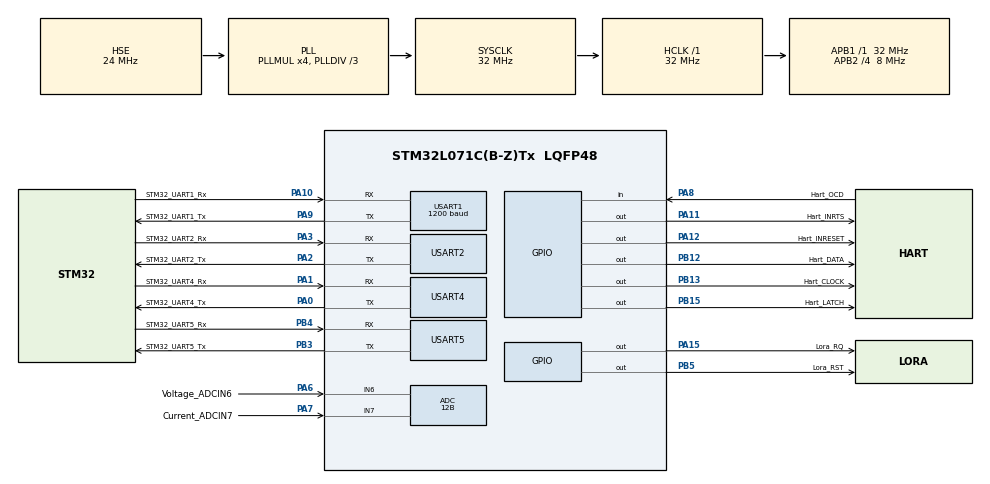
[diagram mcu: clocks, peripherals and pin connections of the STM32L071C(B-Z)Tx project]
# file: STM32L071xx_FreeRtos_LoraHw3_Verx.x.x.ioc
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ADC.ClockPrescaler=ADC_CLOCK_SYNC_PCLK_DIV4
ADC.ContinuousConvMode=ENABLE
ADC.DMAContinuousRequests=DISABLE
ADC.DataAlign=ADC_DATAALIGN_RIGHT
ADC.DiscontinuousConvMode=DISABLE
ADC.EOCSelection=ADC_EOC_SINGLE_CONV
ADC.EnableAnalogWatchDog=false
ADC.ExternalTrigConv=ADC_SOFTWARE_START
ADC.ExternalTrigConvEdge=ADC_EXTERNALTRIGCONVEDGE_NONE
ADC.LowPowerAutoPowerOff=DISABLE
ADC.LowPowerAutoWait=DISABLE
ADC.LowPowerFrequencyMode=DISABLE
ADC.Overrun=ADC_OVR_DATA_PRESERVED
ADC.OversamplingMode=DISABLE
ADC.Resolution=ADC_RESOLUTION_12B
ADC.SamplingTime=ADC_SAMPLETIME_7CYCLES_5
ADC.ScanConvMode=ADC_SCAN_DIRECTION_FORWARD
Dma.ADC.0.Direction=DMA_PERIPH_TO_MEMORY
Dma.ADC.0.Instance=DMA1_Channel1
Dma.ADC.0.MemDataAlignment=DMA_MDATAALIGN_WORD
Dma.ADC.0.MemInc=DMA_MINC_ENABLE
Dma.ADC.0.Mode=DMA_CIRCULAR
Dma.ADC.0.PeriphDataAlignment=DMA_PDATAALIGN_WORD
Dma.ADC.0.PeriphInc=DMA_PINC_DISABLE
Dma.ADC.0.Priority=DMA_PRIORITY_HIGH
Dma.Request0=ADC
FREERTOS.INCLUDE_eTaskGetState=1
FREERTOS.INCLUDE_pcTaskGetTaskName=1
FREERTOS.INCLUDE_vTaskCleanUpResources=1
FREERTOS.Tasks01=defaultTask,0,128,StartDefaultTask,Default
FREERTOS.configTOTAL_HEAP_SIZE=6144
Mcu.Family=STM32L0
Mcu.Name=STM32L071C(B-Z)Tx
Mcu.Package=LQFP48
NVIC.DMA1_Channel1_IRQn=true\:3\:0\:false\:false\:true\:true
NVIC.RTC_IRQn=true\:3\:0\:false\:false\:true\:true
NVIC.TIM2_IRQn=true\:0\:0\:false\:false\:true\:false
NVIC.TimeBase=TIM2_IRQn
NVIC.TimeBaseIP=TIM2
NVIC.USART1_IRQn=true\:3\:0\:false\:false\:true\:true
NVIC.USART2_IRQn=true\:3\:0\:false\:false\:true\:true
NVIC.USART4_5_IRQn=true\:3\:0\:false\:false\:true\:true
PA0.GPIO_Label=STM32_UART4_Tx
PA0.Mode=Asynchronous
PA0.Signal=USART4_TX
PA1.GPIO_Label=STM32_UART4_Rx
PA1.Mode=Asynchronous
PA1.Signal=USART4_RX
PA10.GPIO_Label=STM32_UART1_Rx
PA10.GPIO_Speed=GPIO_SPEED_FREQ_HIGH
PA10.Mode=Asynchronous
PA10.Signal=USART1_RX
PA11.GPIO_Label=Hart_INRTS
PA11.GPIO_PuPd=GPIO_NOPULL
PA11.GPIO_Speed=GPIO_SPEED_FREQ_LOW
PA11.PinState=GPIO_PIN_SET
PA11.Signal=GPIO_Output
PA12.GPIO_Label=Hart_INRESET
PA12.GPIO_PuPd=GPIO_NOPULL
PA12.GPIO_Speed=GPIO_SPEED_FREQ_LOW
PA12.PinState=GPIO_PIN_SET
PA12.Signal=GPIO_Output
PA13.Mode=Serial_Wire
PA13.Signal=SYS_SWDIO
PA14.Mode=Serial_Wire
PA14.Signal=SYS_SWCLK
PA15.GPIO_Label=Lora_RQ
PA15.GPIO_PuPd=GPIO_PULLUP
PA15.GPIO_Speed=GPIO_SPEED_FREQ_HIGH
PA15.PinState=GPIO_PIN_SET
PA15.Signal=GPIO_Output
PA2.GPIO_Label=STM32_UART2_Tx
PA2.GPIO_Speed=GPIO_SPEED_FREQ_HIGH
PA2.Mode=Asynchronous
PA2.Signal=USART2_TX
PA3.GPIO_Label=STM32_UART2_Rx
PA3.GPIO_Speed=GPIO_SPEED_FREQ_HIGH
PA3.Mode=Asynchronous
PA3.Signal=USART2_RX
PA6.GPIO_Label=Voltage_ADCIN6
PA6.Mode=IN6
PA6.Signal=ADC_IN6
PA7.GPIO_Label=Current_ADCIN7
PA7.Mode=IN7
PA7.Signal=ADC_IN7
PA8.GPIO_Label=Hart_OCD
PA8.Signal=GPIO_Input
PA9.GPIO_Label=STM32_UART1_Tx
PA9.Mode=Asynchronous
PA9.Signal=USART1_TX
PB12.GPIO_Label=Hart_DATA
PB12.GPIO_Speed=GPIO_SPEED_FREQ_LOW
PB12.PinState=GPIO_PIN_RESET
PB12.Signal=GPIO_Output
PB13.GPIO_Label=Hart_CLOCK
PB13.GPIO_PuPd=GPIO_NOPULL
PB13.GPIO_Speed=GPIO_SPEED_FREQ_LOW
PB13.PinState=GPIO_PIN_RESET
PB13.Signal=GPIO_Output
PB15.GPIO_Label=Hart_LATCH
PB15.GPIO_PuPd=GPIO_NOPULL
PB15.GPIO_Speed=GPIO_SPEED_FREQ_LOW
PB15.PinState=GPIO_PIN_RESET
PB15.Signal=GPIO_Output
PB3.GPIO_Label=STM32_UART5_Tx
PB3.Mode=Asynchronous
PB3.Signal=USART5_TX
PB4.GPIO_Label=STM32_UART5_Rx
PB4.Mode=Asynchronous
PB4.Signal=USART5_RX
PB5.GPIO_Label=Lora_RST
PB5.GPIO_PuPd=GPIO_PULLUP
PB5.GPIO_Speed=GPIO_SPEED_FREQ_HIGH
PB5.PinState=GPIO_PIN_SET
PB5.Signal=GPIO_Output
PH0-OSC_IN.Mode=HSE-External-Oscillator
PH0-OSC_IN.Signal=RCC_OSC_IN
PH1-OSC_OUT.Mode=HSE-External-Oscillator
PH1-OSC_OUT.Signal=RCC_OSC_OUT
ProjectManager.HeapSize=0x200
ProjectManager.StackSize=0x400
ProjectManager.TargetToolchain=MDK-ARM V5
RCC.AHBFreq_Value=32000000
RCC.APB1Freq_Value=32000000
RCC.APB1TimFreq_Value=32000000
RCC.APB2CLKDivider=RCC_HCLK_DIV4
RCC.APB2Freq_Value=8000000
RCC.APB2TimFreq_Value=16000000
RCC.HCLKFreq_Value=32000000
RCC.HSE_VALUE=24000000
RCC.HSI16_VALUE=16000000
RCC.HSI_VALUE=16000000
RCC.LSE_VALUE=32768
RCC.MSI_VALUE=2097000
RCC.PLLDIV=RCC_PLLDIV_3
RCC.PLLMUL=RCC_PLLMUL_4
RCC.PLLSourceVirtual=RCC_PLLSOURCE_HSE
RCC.SYSCLKFreq_VALUE=32000000
RCC.SYSCLKSource=RCC_SYSCLKSOURCE_PLLCLK
RCC.VCOOutputFreq_Value=96000000
RTC.AlarmMaskSeconds-Alarm\ A=RTC_ALARMMASK_SECONDS
RTC.AlarmMaskSeconds_B-Alarm\ B=RTC_ALARMMASK_SECONDS
RTC.Format=RTC_FORMAT_BIN
USART1.BaudRate=1200
USART1.WordLength=UART_WORDLENGTH_9B
USART2.WordLength=UART_WORDLENGTH_8B
USART4.WordLength=UART_WORDLENGTH_8B
USART5.WordLength=UART_WORDLENGTH_8B
VP_FREERTOS_VS_ENABLE.Mode=Enabled
VP_RTC_VS_RTC_Activate.Mode=RTC_Enabled
VP_RTC_VS_RTC_Alarm_A_Intern.Mode=Alarm A
VP_RTC_VS_RTC_Alarm_B_Intern.Mode=Alarm B
VP_RTC_VS_RTC_Calendar.Mode=RTC_Calendar
VP_SYS_VS_tim2.Mode=TIM2
board=STM32L071xx_FreeRtos_LoraHw3_Verx.x.x

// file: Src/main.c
/**
  ******************************************************************************
  * File Name          : main.c
  * Description        : Main program body
  ******************************************************************************
  *
  * Copyright (c) 2017 STMicroelectronics International N.V.
  * All rights reserved.
  *
  * Redistribution and use in source and binary forms, with or without
  * modification, are permitted, provided that the following conditions are met:
  *
  * 1. Redistribution of source code must retain the above copyright notice,
  *    this list of conditions and the following disclaimer.
  * 2. Redistributions in binary form must reproduce the above copyright notice,
  *    this list of conditions and the following disclaimer in the documentation
  *    and/or other materials provided with the distribution.
  * 3. Neither the name of STMicroelectronics nor the names of other
  *    contributors to this software may be used to endorse or promote products
  *    derived from this software without specific written permission.
  * 4. This software, including modifications and/or derivative works of this
  *    software, must execute solely and exclusively on microcontroller or
  *    microprocessor devices manufactured by or for STMicroelectronics.
  * 5. Redistribution and use of this software other than as permitted under
  *    this license is void and will automatically terminate your rights under
  *    this license.
  *
  * THIS SOFTWARE IS PROVIDED BY STMICROELECTRONICS AND CONTRIBUTORS "AS IS"
  * AND ANY EXPRESS, IMPLIED OR STATUTORY WARRANTIES, INCLUDING, BUT NOT
  * LIMITED TO, THE IMPLIED WARRANTIES OF MERCHANTABILITY, FITNESS FOR A
  * PARTICULAR PURPOSE AND NON-INFRINGEMENT OF THIRD PARTY INTELLECTUAL PROPERTY
  * RIGHTS ARE DISCLAIMED TO THE FULLEST EXTENT PERMITTED BY LAW. IN NO EVENT
  * SHALL STMICROELECTRONICS OR CONTRIBUTORS BE LIABLE FOR ANY DIRECT, INDIRECT,
  * INCIDENTAL, SPECIAL, EXEMPLARY, OR CONSEQUENTIAL DAMAGES (INCLUDING, BUT NOT
  * LIMITED TO, PROCUREMENT OF SUBSTITUTE GOODS OR SERVICES; LOSS OF USE, DATA,
  * OR PROFITS; OR BUSINESS INTERRUPTION) HOWEVER CAUSED AND ON ANY THEORY OF
  * LIABILITY, WHETHER IN CONTRACT, STRICT LIABILITY, OR TORT (INCLUDING
  * NEGLIGENCE OR OTHERWISE) ARISING IN ANY WAY OUT OF THE USE OF THIS SOFTWARE,
  * EVEN IF ADVISED OF THE POSSIBILITY OF SUCH DAMAGE.
  *
  ******************************************************************************
  */
#include "main.h"
#include "stm32l0xx_hal.h"
#include "cmsis_os.h"
#include "adc.h"
#include "dma.h"
#include "rtc.h"
#include "usart.h"
#include "gpio.h"

/* USER CODE BEGIN Includes */
#include "common.h"
/* USER CODE END Includes */

/* USER CODE BEGIN PV */
/* Private variables ---------------------------------------------------------*/

/* USER CODE END PV */

void SystemClock_Config(void);
void Error_Handler(void);
void MX_FREERTOS_Init(void);

/* USER CODE BEGIN PFP */
/* Private function prototypes -----------------------------------------------*/

/* USER CODE END PFP */

/* USER CODE BEGIN 0 */
#define RS232_TASK    1
#define WRITE_TASK    1
#define DATA_TASK     1
#define LORA_TASK     1
#define RS485_TASK    1
#define ADC_TASK      0

//注册任务函数
StTaskObj g_stTaskObjs[] =
{
#if RS232_TASK
    {
			"Rs232Communicate",
			vTaskRs232Communicate,
			configMAX_PRIORITIES - 3,
			100,
			NULL,
    },
#endif

#if WRITE_TASK
    {
			"WriteTask",
			vTaskUartWrite,
			configMAX_PRIORITIES - 3,
			100,
			NULL,
    },
#endif

#if DATA_TASK
    {
			"DataTask",
			vTaskDataProcess,
			configMAX_PRIORITIES - 2,
			100,
			NULL,
    },
#endif

#if LORA_TASK
		{
			"LoraTask",
			vTaskLoraCommunicate,
			configMAX_PRIORITIES - 2,
			100,
			NULL,
		},
#endif

#if RS485_TASK
    {
			"RS485Communicate",
			vTaskRS485Communicate,
			configMAX_PRIORITIES  - 3,
			100,
			NULL,
    },
#endif

#if ADC_TASK
    {
			"ADCTask",
			vTaskADCollection,
			configMAX_PRIORITIES  - 3,
			100,
			NULL,
    },
#endif

};
/*
 * 函数名      : RegisterMessage
 * 功能        : 注册消息队列
 * 参数        : s32Index [in] : 任务索引
 *             : boMsgQueue [in] : 是否需要消息队列
 * 返回        : 正确返回0, 错误返回-1
 * 作者        : lvchunhao 2017-7-25
 */
static void RegisterMessage(int s32Index, unsigned char u8IsMsgQueue)
{
    if(1 == u8IsMsgQueue)
    {
        g_stTaskObjs[s32Index].s32MsgQueID = xQueueCreate( 5, sizeof(StMsgPkg));
        if(NULL == g_stTaskObjs[s32Index].s32MsgQueID)
        {
            return;
        }
    }

    return;
}

/*
 * 函数名      : RegisterTaskMessages
 * 功能        : 创建任务消息队列
 * 参数        : 无
 * 描述        : 有些任务不需要消息队列,为了确保给相应g_stTaskObjs[s32Index]赋值,
 * 				 故添加语句RegisterMessage(i ++, false), 注意对应关系
 * 返回        : 正确返回0, 错误返回-1
 * 作者        : lvchunhao 2017-7-25
 */
static int RegisterTaskMessages(void)
{
    int i = 0;

#if RS232_TASK
    RegisterMessage(i ++, 0);
#endif

#if WRITE_TASK
    RegisterMessage(i ++, 1);
#endif

#if DATA_TASK
    RegisterMessage(i ++, 1);
#endif

#if LORA_TASK
    RegisterMessage(i ++, 0);
#endif

#if RS485_TASK
    RegisterMessage(i ++, 0);
#endif

#if ADC_TASK
    RegisterMessage(i ++, 0);
#endif

    return 0;
}
/* USER CODE END 0 */

int main(void)
{

  /* USER CODE BEGIN 1 */
  portBASE_TYPE s32Ret = 0;
  /* USER CODE END 1 */

  /* MCU Configuration----------------------------------------------------------*/

  /* Reset of all peripherals, Initializes the Flash interface and the Systick. */
  HAL_Init();

  /* Configure the system clock */
  SystemClock_Config();

  /* Initialize all configured peripherals */
  MX_GPIO_Init();
  MX_DMA_Init();
  MX_ADC_Init();
  MX_USART1_UART_Init();
  MX_USART2_UART_Init();
  MX_USART4_UART_Init();
  MX_USART5_UART_Init();
  MX_RTC_Init();

  /* USER CODE BEGIN 2 */
	PRINT("LoRa main process is start\n");

  //创建任务消息队列
	if(RegisterTaskMessages() < 0)
	{
		return -1;
	}

		//创建任务
	for(unsigned int i = 0; i < sizeof(g_stTaskObjs) / sizeof(g_stTaskObjs[0]); i ++)
	{

		s32Ret = xTaskCreate(g_stTaskObjs[i].pTaskFxn,       /* 指向任务函数的指针 */
												 g_stTaskObjs[i].pTaskName,      /* 任务的文本名字,只会在调试中用到 */
												 g_stTaskObjs[i].u16StackSize,   /* 栈深度 */
												 &g_stTaskObjs[i],               /* 任务参数 */
								         g_stTaskObjs[i].u16TaskPrio,    /* 优先级 */
							           &g_stTaskObjs[i].stTask);       /* 任务句柄 */

		//创建任务失败
		if(errCOULD_NOT_ALLOCATE_REQUIRED_MEMORY == s32Ret)
		{
				return -1;
		}

	}
  /* USER CODE END 2 */

  /* Call init function for freertos objects (in freertos.c) */
  //MX_FREERTOS_Init();

  /* Start scheduler */
  osKernelStart();

  /* We should never get here as control is now taken by the scheduler */

  /* Infinite loop */
  while (1)
  {

  }

}

/** System Clock Configuration
*/
void SystemClock_Config(void)
{

  RCC_OscInitTypeDef RCC_OscInitStruct;
  RCC_ClkInitTypeDef RCC_ClkInitStruct;
  RCC_PeriphCLKInitTypeDef PeriphClkInit;

    /**Configure the main internal regulator output voltage
    */
  __HAL_PWR_VOLTAGESCALING_CONFIG(PWR_REGULATOR_VOLTAGE_SCALE1);

    /**Initializes the CPU, AHB and APB busses clocks
    */
  RCC_OscInitStruct.OscillatorType = RCC_OSCILLATORTYPE_LSI|RCC_OSCILLATORTYPE_HSE;
  RCC_OscInitStruct.HSEState = RCC_HSE_ON;
  RCC_OscInitStruct.LSIState = RCC_LSI_ON;
  RCC_OscInitStruct.PLL.PLLState = RCC_PLL_ON;
  RCC_OscInitStruct.PLL.PLLSource = RCC_PLLSOURCE_HSE;    //24M
  RCC_OscInitStruct.PLL.PLLMUL = RCC_PLLMUL_4;            //24*4=96M
  RCC_OscInitStruct.PLL.PLLDIV = RCC_PLLDIV_3;            //96/3=22M
  if (HAL_RCC_OscConfig(&RCC_OscInitStruct) != HAL_OK)
  {
    Error_Handler();
  }

    /**Initializes the CPU, AHB and APB busses clocks
    */
  RCC_ClkInitStruct.ClockType = RCC_CLOCKTYPE_HCLK|RCC_CLOCKTYPE_SYSCLK
                              |RCC_CLOCKTYPE_PCLK1|RCC_CLOCKTYPE_PCLK2;
  RCC_ClkInitStruct.SYSCLKSource = RCC_SYSCLKSOURCE_PLLCLK;
  RCC_ClkInitStruct.AHBCLKDivider = RCC_SYSCLK_DIV1;
  RCC_ClkInitStruct.APB1CLKDivider = RCC_HCLK_DIV1;
  RCC_ClkInitStruct.APB2CLKDivider = RCC_HCLK_DIV4;         //32M/4=8M

  if (HAL_RCC_ClockConfig(&RCC_ClkInitStruct, FLASH_LATENCY_1) != HAL_OK)
  {
    Error_Handler();
  }

  PeriphClkInit.PeriphClockSelection = RCC_PERIPHCLK_USART1|RCC_PERIPHCLK_USART2
                              |RCC_PERIPHCLK_RTC;
  PeriphClkInit.Usart1ClockSelection = RCC_USART1CLKSOURCE_PCLK2;
  PeriphClkInit.Usart2ClockSelection = RCC_USART2CLKSOURCE_PCLK1;
  PeriphClkInit.RTCClockSelection = RCC_RTCCLKSOURCE_LSI;
  if (HAL_RCCEx_PeriphCLKConfig(&PeriphClkInit) != HAL_OK)
  {
    Error_Handler();
  }

    /**Configure the Systick interrupt time
    */
  HAL_SYSTICK_Config(HAL_RCC_GetHCLKFreq()/1000);

    /**Configure the Systick
    */
  HAL_SYSTICK_CLKSourceConfig(SYSTICK_CLKSOURCE_HCLK);

  /* SysTick_IRQn interrupt configuration */
  HAL_NVIC_SetPriority(SysTick_IRQn, 3, 0);
}

/* USER CODE BEGIN 4 */
/*
 * 函数名      : SystemClock_StopMode
 * 功能        : 系统从Stop模式退出后需要重新配置时钟
 * 参数        : void
 * 返回        : void
 * 作者        : lvchunhao 2017-11-10
 */
void SystemClock_StopMode(void)
{

  RCC_OscInitTypeDef RCC_OscInitStruct;
  RCC_ClkInitTypeDef RCC_ClkInitStruct;
  RCC_PeriphCLKInitTypeDef PeriphClkInit;

    /**Configure the main internal regulator output voltage
    */
  __HAL_PWR_VOLTAGESCALING_CONFIG(PWR_REGULATOR_VOLTAGE_SCALE1);

    /**Initializes the CPU, AHB and APB busses clocks
    */
  RCC_OscInitStruct.OscillatorType = RCC_OSCILLATORTYPE_LSI|RCC_OSCILLATORTYPE_HSE;
  RCC_OscInitStruct.HSEState = RCC_HSE_ON;
  RCC_OscInitStruct.LSIState = RCC_LSI_ON;
  RCC_OscInitStruct.PLL.PLLState = RCC_PLL_ON;
  RCC_OscInitStruct.PLL.PLLSource = RCC_PLLSOURCE_HSE;
  RCC_OscInitStruct.PLL.PLLMUL = RCC_PLLMUL_4;
  RCC_OscInitStruct.PLL.PLLDIV = RCC_PLLDIV_3;
  if (HAL_RCC_OscConfig(&RCC_OscInitStruct) != HAL_OK)
  {
    Error_Handler();
  }

    /**Initializes the CPU, AHB and APB busses clocks
    */
  RCC_ClkInitStruct.ClockType = RCC_CLOCKTYPE_HCLK|RCC_CLOCKTYPE_SYSCLK
                              |RCC_CLOCKTYPE_PCLK1|RCC_CLOCKTYPE_PCLK2;
  RCC_ClkInitStruct.SYSCLKSource = RCC_SYSCLKSOURCE_PLLCLK;
  RCC_ClkInitStruct.AHBCLKDivider = RCC_SYSCLK_DIV1;
  RCC_ClkInitStruct.APB1CLKDivider = RCC_HCLK_DIV1;
  RCC_ClkInitStruct.APB2CLKDivider = RCC_HCLK_DIV4;

  if (HAL_RCC_ClockConfig(&RCC_ClkInitStruct, FLASH_LATENCY_1) != HAL_OK)
  {
    Error_Handler();
  }

  PeriphClkInit.PeriphClockSelection = RCC_PERIPHCLK_USART1|RCC_PERIPHCLK_USART2
                              |RCC_PERIPHCLK_RTC;
  PeriphClkInit.Usart1ClockSelection = RCC_USART1CLKSOURCE_PCLK2;
  PeriphClkInit.Usart2ClockSelection = RCC_USART2CLKSOURCE_PCLK1;
  PeriphClkInit.RTCClockSelection = RCC_RTCCLKSOURCE_LSI;
  if (HAL_RCCEx_PeriphCLKConfig(&PeriphClkInit) != HAL_OK)
  {
    Error_Handler();
  }

    /**Configure the Systick interrupt time
    */
  HAL_SYSTICK_Config(HAL_RCC_GetHCLKFreq()/1000);

    /**Configure the Systick
    */
  HAL_SYSTICK_CLKSourceConfig(SYSTICK_CLKSOURCE_HCLK);

  /* SysTick_IRQn interrupt configuration */
  HAL_NVIC_SetPriority(SysTick_IRQn, 3, 0);
}
/*
 * 函数名      : HAL_RTC_AlarmAEventCallback
 * 功能        : 闹钟A中断回调函数
 * 参数        : hrtc[in]: rtc句柄
 * 返回        : void
 * 作者        : lvchunhao 2017-11-10
 */
void HAL_RTC_AlarmAEventCallback(RTC_HandleTypeDef *hrtc)
{
		#if PRINT_STRING
		PRINT("******** I am in RTC Alarm A *********\n");
	  #endif
	  //SetRTCAlarmSeconds(0, 1, 1);
}
/*
 * 函数名      : HAL_RTCEx_AlarmBEventCallback
 * 功能        : 闹钟B中断回调函数
 * 参数        : hrtc[in]: rtc句柄
 * 返回        : void
 * 作者        : lvchunhao 2017-11-10
 */
void HAL_RTCEx_AlarmBEventCallback(RTC_HandleTypeDef *hrtc)
{
		#if PRINT_STRING
		PRINT("******** I am in RTC Alarm B *********\n");
	  #endif
}
/* USER CODE END 4 */

void HAL_TIM_PeriodElapsedCallback(TIM_HandleTypeDef *htim)
{
  if (htim->Instance == TIM2) {
    HAL_IncTick();
  }
}

void Error_Handler(void)
{
  while(1)
  {
  }
}

/************************ (C) COPYRIGHT STMicroelectronics *****END OF FILE****/
